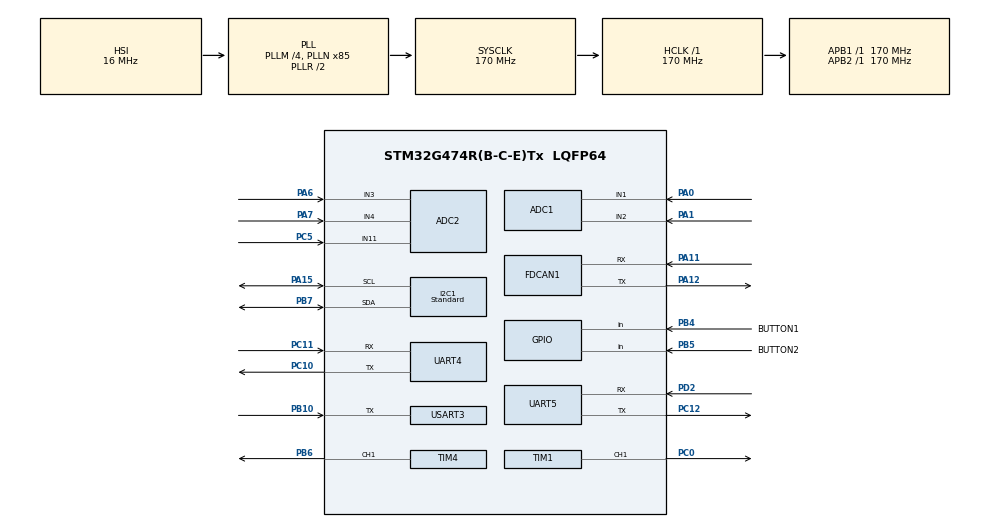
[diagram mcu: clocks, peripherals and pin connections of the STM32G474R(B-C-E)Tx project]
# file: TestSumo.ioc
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ADC1.Channel-0\#ChannelRegularConversion=ADC_CHANNEL_1
ADC1.Channel-1\#ChannelRegularConversion=ADC_CHANNEL_2
ADC1.EOCSelection=ADC_EOC_SEQ_CONV
ADC1.NbrOfConversion=2
ADC1.NbrOfConversionFlag=1
ADC1.OffsetNumber-0\#ChannelRegularConversion=ADC_OFFSET_NONE
ADC1.OffsetNumber-1\#ChannelRegularConversion=ADC_OFFSET_NONE
ADC1.OversamplingMode=DISABLE
ADC1.Rank-0\#ChannelRegularConversion=1
ADC1.Rank-1\#ChannelRegularConversion=2
ADC1.SamplingTime-0\#ChannelRegularConversion=ADC_SAMPLETIME_640CYCLES_5
ADC1.SamplingTime-1\#ChannelRegularConversion=ADC_SAMPLETIME_640CYCLES_5
ADC1.master=1
ADC2.Channel-0\#ChannelRegularConversion=ADC_CHANNEL_3
ADC2.Channel-1\#ChannelRegularConversion=ADC_CHANNEL_4
ADC2.Channel-2\#ChannelRegularConversion=ADC_CHANNEL_11
ADC2.EOCSelection=ADC_EOC_SEQ_CONV
ADC2.NbrOfConversion=3
ADC2.NbrOfConversionFlag=1
ADC2.OffsetNumber-0\#ChannelRegularConversion=ADC_OFFSET_NONE
ADC2.OffsetNumber-1\#ChannelRegularConversion=ADC_OFFSET_NONE
ADC2.OffsetNumber-2\#ChannelRegularConversion=ADC_OFFSET_NONE
ADC2.OversamplingMode=DISABLE
ADC2.Rank-0\#ChannelRegularConversion=1
ADC2.Rank-1\#ChannelRegularConversion=2
ADC2.Rank-2\#ChannelRegularConversion=3
ADC2.SamplingTime-0\#ChannelRegularConversion=ADC_SAMPLETIME_640CYCLES_5
ADC2.SamplingTime-1\#ChannelRegularConversion=ADC_SAMPLETIME_640CYCLES_5
ADC2.SamplingTime-2\#ChannelRegularConversion=ADC_SAMPLETIME_640CYCLES_5
Dma.ADC1.0.Direction=DMA_PERIPH_TO_MEMORY
Dma.ADC1.0.EventEnable=DISABLE
Dma.ADC1.0.Instance=DMA1_Channel1
Dma.ADC1.0.MemDataAlignment=DMA_MDATAALIGN_WORD
Dma.ADC1.0.MemInc=DMA_MINC_ENABLE
Dma.ADC1.0.Mode=DMA_NORMAL
Dma.ADC1.0.PeriphDataAlignment=DMA_PDATAALIGN_WORD
Dma.ADC1.0.PeriphInc=DMA_PINC_DISABLE
Dma.ADC1.0.Polarity=HAL_DMAMUX_REQ_GEN_RISING
Dma.ADC1.0.Priority=DMA_PRIORITY_LOW
Dma.ADC1.0.RequestNumber=1
Dma.ADC1.0.SignalID=NONE
Dma.ADC1.0.SyncEnable=DISABLE
Dma.ADC1.0.SyncPolarity=HAL_DMAMUX_SYNC_NO_EVENT
Dma.ADC1.0.SyncRequestNumber=1
Dma.ADC1.0.SyncSignalID=NONE
Dma.ADC2.4.Direction=DMA_PERIPH_TO_MEMORY
Dma.ADC2.4.EventEnable=DISABLE
Dma.ADC2.4.Instance=DMA1_Channel5
Dma.ADC2.4.MemDataAlignment=DMA_MDATAALIGN_WORD
Dma.ADC2.4.MemInc=DMA_MINC_ENABLE
Dma.ADC2.4.Mode=DMA_NORMAL
Dma.ADC2.4.PeriphDataAlignment=DMA_PDATAALIGN_WORD
Dma.ADC2.4.PeriphInc=DMA_PINC_DISABLE
Dma.ADC2.4.Polarity=HAL_DMAMUX_REQ_GEN_RISING
Dma.ADC2.4.Priority=DMA_PRIORITY_LOW
Dma.ADC2.4.RequestNumber=1
Dma.ADC2.4.SignalID=NONE
Dma.ADC2.4.SyncEnable=DISABLE
Dma.ADC2.4.SyncPolarity=HAL_DMAMUX_SYNC_NO_EVENT
Dma.ADC2.4.SyncRequestNumber=1
Dma.ADC2.4.SyncSignalID=NONE
Dma.I2C1_RX.6.Direction=DMA_PERIPH_TO_MEMORY
Dma.I2C1_RX.6.EventEnable=DISABLE
Dma.I2C1_RX.6.Instance=DMA1_Channel7
Dma.I2C1_RX.6.MemDataAlignment=DMA_MDATAALIGN_BYTE
Dma.I2C1_RX.6.MemInc=DMA_MINC_ENABLE
Dma.I2C1_RX.6.Mode=DMA_NORMAL
Dma.I2C1_RX.6.PeriphDataAlignment=DMA_PDATAALIGN_BYTE
Dma.I2C1_RX.6.PeriphInc=DMA_PINC_DISABLE
Dma.I2C1_RX.6.Polarity=HAL_DMAMUX_REQ_GEN_RISING
Dma.I2C1_RX.6.Priority=DMA_PRIORITY_LOW
Dma.I2C1_RX.6.RequestNumber=1
Dma.I2C1_RX.6.SignalID=NONE
Dma.I2C1_RX.6.SyncEnable=DISABLE
Dma.I2C1_RX.6.SyncPolarity=HAL_DMAMUX_SYNC_NO_EVENT
Dma.I2C1_RX.6.SyncRequestNumber=1
Dma.I2C1_RX.6.SyncSignalID=NONE
Dma.I2C1_TX.5.Direction=DMA_MEMORY_TO_PERIPH
Dma.I2C1_TX.5.EventEnable=DISABLE
Dma.I2C1_TX.5.Instance=DMA1_Channel6
Dma.I2C1_TX.5.MemDataAlignment=DMA_MDATAALIGN_BYTE
Dma.I2C1_TX.5.MemInc=DMA_MINC_ENABLE
Dma.I2C1_TX.5.Mode=DMA_NORMAL
Dma.I2C1_TX.5.PeriphDataAlignment=DMA_PDATAALIGN_BYTE
Dma.I2C1_TX.5.PeriphInc=DMA_PINC_DISABLE
Dma.I2C1_TX.5.Polarity=HAL_DMAMUX_REQ_GEN_RISING
Dma.I2C1_TX.5.Priority=DMA_PRIORITY_LOW
Dma.I2C1_TX.5.RequestNumber=1
Dma.I2C1_TX.5.SignalID=NONE
Dma.I2C1_TX.5.SyncEnable=DISABLE
Dma.I2C1_TX.5.SyncPolarity=HAL_DMAMUX_SYNC_NO_EVENT
Dma.I2C1_TX.5.SyncRequestNumber=1
Dma.I2C1_TX.5.SyncSignalID=NONE
Dma.Request0=ADC1
Dma.Request1=UART5_RX
Dma.Request2=UART4_RX
Dma.Request3=USART3_RX
Dma.Request4=ADC2
Dma.Request5=I2C1_TX
Dma.Request6=I2C1_RX
Dma.UART4_RX.2.Direction=DMA_PERIPH_TO_MEMORY
Dma.UART4_RX.2.EventEnable=DISABLE
Dma.UART4_RX.2.Instance=DMA1_Channel2
Dma.UART4_RX.2.MemDataAlignment=DMA_MDATAALIGN_BYTE
Dma.UART4_RX.2.MemInc=DMA_MINC_ENABLE
Dma.UART4_RX.2.Mode=DMA_NORMAL
Dma.UART4_RX.2.PeriphDataAlignment=DMA_PDATAALIGN_BYTE
Dma.UART4_RX.2.PeriphInc=DMA_PINC_DISABLE
Dma.UART4_RX.2.Polarity=HAL_DMAMUX_REQ_GEN_RISING
Dma.UART4_RX.2.Priority=DMA_PRIORITY_LOW
Dma.UART4_RX.2.RequestNumber=1
Dma.UART4_RX.2.SignalID=NONE
Dma.UART4_RX.2.SyncEnable=DISABLE
Dma.UART4_RX.2.SyncPolarity=HAL_DMAMUX_SYNC_NO_EVENT
Dma.UART4_RX.2.SyncRequestNumber=1
Dma.UART4_RX.2.SyncSignalID=NONE
Dma.UART5_RX.1.Direction=DMA_PERIPH_TO_MEMORY
Dma.UART5_RX.1.EventEnable=DISABLE
Dma.UART5_RX.1.Instance=DMA1_Channel3
Dma.UART5_RX.1.MemDataAlignment=DMA_MDATAALIGN_BYTE
Dma.UART5_RX.1.MemInc=DMA_MINC_ENABLE
Dma.UART5_RX.1.Mode=DMA_NORMAL
Dma.UART5_RX.1.PeriphDataAlignment=DMA_PDATAALIGN_BYTE
Dma.UART5_RX.1.PeriphInc=DMA_PINC_DISABLE
Dma.UART5_RX.1.Polarity=HAL_DMAMUX_REQ_GEN_RISING
Dma.UART5_RX.1.Priority=DMA_PRIORITY_LOW
Dma.UART5_RX.1.RequestNumber=1
Dma.UART5_RX.1.SignalID=NONE
Dma.UART5_RX.1.SyncEnable=DISABLE
Dma.UART5_RX.1.SyncPolarity=HAL_DMAMUX_SYNC_NO_EVENT
Dma.UART5_RX.1.SyncRequestNumber=1
Dma.UART5_RX.1.SyncSignalID=NONE
Dma.USART3_RX.3.Direction=DMA_PERIPH_TO_MEMORY
Dma.USART3_RX.3.EventEnable=DISABLE
Dma.USART3_RX.3.Instance=DMA1_Channel4
Dma.USART3_RX.3.MemDataAlignment=DMA_MDATAALIGN_BYTE
Dma.USART3_RX.3.MemInc=DMA_MINC_ENABLE
Dma.USART3_RX.3.Mode=DMA_CIRCULAR
Dma.USART3_RX.3.PeriphDataAlignment=DMA_PDATAALIGN_BYTE
Dma.USART3_RX.3.PeriphInc=DMA_PINC_DISABLE
Dma.USART3_RX.3.Polarity=HAL_DMAMUX_REQ_GEN_RISING
Dma.USART3_RX.3.Priority=DMA_PRIORITY_LOW
Dma.USART3_RX.3.RequestNumber=1
Dma.USART3_RX.3.SignalID=NONE
Dma.USART3_RX.3.SyncEnable=DISABLE
Dma.USART3_RX.3.SyncPolarity=HAL_DMAMUX_SYNC_NO_EVENT
Dma.USART3_RX.3.SyncRequestNumber=1
Dma.USART3_RX.3.SyncSignalID=NONE
FDCAN1.DataPrescaler=10
FDCAN1.DataTimeSeg1=13
FDCAN1.DataTimeSeg2=2
FDCAN1.NominalPrescaler=85
FDCAN1.NominalTimeSeg1=13
FDCAN1.StdFiltersNbr=2
I2C1.I2C_Speed_Mode=I2C_Standard
I2C1.Timing=0x30A0A7FB
Mcu.Family=STM32G4
Mcu.Name=STM32G474R(B-C-E)Tx
Mcu.Package=LQFP64
NVIC.DMA1_Channel1_IRQn=true\:0\:0\:false\:false\:true\:false\:true
NVIC.DMA1_Channel2_IRQn=true\:0\:0\:false\:false\:true\:false\:true
NVIC.DMA1_Channel3_IRQn=true\:0\:0\:false\:false\:true\:false\:true
NVIC.DMA1_Channel4_IRQn=true\:0\:0\:false\:false\:true\:false\:true
NVIC.DMA1_Channel5_IRQn=true\:0\:0\:false\:false\:true\:false\:true
NVIC.DMA1_Channel6_IRQn=true\:0\:0\:false\:false\:true\:false\:true
NVIC.DMA1_Channel7_IRQn=true\:0\:0\:false\:false\:true\:false\:true
NVIC.FDCAN1_IT1_IRQn=true\:0\:0\:false\:false\:true\:true\:true
NVIC.PriorityGroup=NVIC_PRIORITYGROUP_4
NVIC.TIM4_IRQn=true\:0\:0\:false\:false\:true\:true\:false
NVIC.TIM6_DAC_IRQn=true\:1\:0\:true\:false\:true\:true\:true
PA0.Mode=IN1-Single-Ended
PA0.Signal=ADC1_IN1
PA1.Mode=IN2-Single-Ended
PA1.Signal=ADC1_IN2
PA11.Mode=FDCANMaster
PA11.Signal=FDCAN1_RX
PA12.Mode=FDCANMaster
PA12.Signal=FDCAN1_TX
PA13.Mode=Serial_Wire
PA13.Signal=SYS_JTMS-SWDIO
PA14.Mode=Serial_Wire
PA14.Signal=SYS_JTCK-SWCLK
PA15.Mode=I2C
PA15.Signal=I2C1_SCL
PA6.Mode=IN3-Single-Ended
PA6.Signal=ADC2_IN3
PA7.Mode=IN4-Single-Ended
PA7.Signal=ADC2_IN4
PB10.Mode=Half_duplex(single_wire_mode)
PB10.Signal=USART3_TX
PB4.GPIO_Label=BUTTON1
PB4.Signal=GPIO_Input
PB5.GPIO_Label=BUTTON2
PB5.Signal=GPIO_Input
PB6.GPIO_Speed=GPIO_SPEED_FREQ_VERY_HIGH
PB6.Signal=S_TIM4_CH1
PB7.Mode=I2C
PB7.Signal=I2C1_SDA
PC0.GPIO_Speed=GPIO_SPEED_FREQ_VERY_HIGH
PC0.Signal=S_TIM1_CH1
PC10.Mode=Asynchronous
PC10.Signal=UART4_TX
PC11.Mode=Asynchronous
PC11.Signal=UART4_RX
PC12.Mode=Asynchronous
PC12.Signal=UART5_TX
PC5.Mode=IN11-Single-Ended
PC5.Signal=ADC2_IN11
PD2.Mode=Asynchronous
PD2.Signal=UART5_RX
ProjectManager.HeapSize=0x200
ProjectManager.StackSize=0x400
ProjectManager.TargetToolchain=SW4STM32
RCC.ADC12Freq_Value=170000000
RCC.ADC345Freq_Value=170000000
RCC.AHBFreq_Value=170000000
RCC.APB1Freq_Value=170000000
RCC.APB1TimFreq_Value=170000000
RCC.APB2Freq_Value=170000000
RCC.APB2TimFreq_Value=170000000
RCC.CortexFreq_Value=170000000
RCC.EXTERNAL_CLOCK_VALUE=12288000
RCC.HCLKFreq_Value=170000000
RCC.HSE_VALUE=8000000
RCC.HSI48_VALUE=48000000
RCC.HSI_VALUE=16000000
RCC.LSE_VALUE=32768
RCC.PLLM=RCC_PLLM_DIV4
RCC.PLLN=85
RCC.SYSCLKFreq_VALUE=170000000
RCC.SYSCLKSource=RCC_SYSCLKSOURCE_PLLCLK
RCC.USBFreq_Value=170000000
RCC.VCOOutputFreq_Value=340000000
SH.S_TIM1_CH1.0=TIM1_CH1,PWM Generation1 CH1
SH.S_TIM4_CH1.0=TIM4_CH1,PWM Generation1 CH1
TIM1.Channel-PWM\ Generation1\ CH1=TIM_CHANNEL_1
TIM1.PeriodNoDither=5000
TIM1.Prescaler=170
TIM1.PulseNoDither_1=2000
TIM4.AutoReloadPreload=TIM_AUTORELOAD_PRELOAD_DISABLE
TIM4.Channel-PWM\ Generation1\ CH1=TIM_CHANNEL_1
TIM4.CounterMode=TIM_COUNTERMODE_UP
TIM4.OC1Preload_PWM=DISABLE
TIM4.OCFastMode_PWM-PWM\ Generation1\ CH1=TIM_OCFAST_ENABLE
TIM4.PeriodNoDither=213
TIM4.PulseNoDither_1=63
TIM6.AutoReloadPreload=TIM_AUTORELOAD_PRELOAD_ENABLE
TIM6.PeriodNoDither=20000
TIM6.Prescaler=1700
USART3.BaudRate=100000
USART3.DataInvertParam=ADVFEATURE_DATAINV_DISABLE
USART3.Mode=MODE_RX
USART3.Parity=PARITY_EVEN
USART3.RxPinLevelInvertParam=ADVFEATURE_RXINV_ENABLE
USART3.StopBits=STOPBITS_2
USART3.VirtualMode-Half_duplex(single_wire_mode)=VM_ASYNC
USART3.WordLength=WORDLENGTH_9B
VP_SYS_VS_DBSignals.Mode=DisableDeadBatterySignals
VP_TIM1_VS_ClockSourceINT.Mode=Internal
VP_TIM4_VS_ClockSourceINT.Mode=Internal
VP_TIM6_VS_ClockSourceINT.Mode=Enable_Timer
board=custom

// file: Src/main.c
/* USER CODE BEGIN Header */
/**
  ******************************************************************************
  * @file           : main.c
  * @brief          : Main program body
  ******************************************************************************
  * @attention
  *
  * <h2><center>&copy; Copyright (c) 2020 STMicroelectronics.
  * All rights reserved.</center></h2>
  *
  * This software component is licensed by ST under BSD 3-Clause license,
  * the "License"; You may not use this file except in compliance with the
  * License. You may obtain a copy of the License at:
  *                        opensource.org/licenses/BSD-3-Clause
  *
  ******************************************************************************
  */
/* USER CODE END Header */

#include "main.h"
#include "adc.h"
#include "dma.h"
#include "fdcan.h"
#include "i2c.h"
#include "tim.h"
#include "usart.h"
#include "gpio.h"

void SystemClock_Config(void);

/* USER CODE BEGIN 0 */
void Variable_Init()
{
	int counter;

	test = 0;
	mode = 1;

	Bit_Counter = 23;
	LED_Counter = 5;
	for(counter = 0; counter < 5; counter++) LED[counter].data = 0;

	for(counter = 0; counter < 4; counter++) CAN_RX_Buffer[counter] = 0;
	for(counter = 0; counter < 10; counter++) CAN_TX_Buffer[counter] = 0;
	for(counter = 0; counter < 25; counter++) TXR_Buffer.array[counter] = 0;
	LESC_Status = 0;
	RESC_Status = 0;
	TXR_Status = 0;
	CAN_RX_Mailbox = 0;
	Motor_Armed = 0;
	Vacuum_Armed = 0;
	ACK_Toggle = 0;
	LeftMotorSpeed = 0;
	RightMotorSpeed = 0;
	LINE_ADC[0] = 0;
	LINE_ADC[1] = 0;

	RAMPD = 50;
}

void Peripheral_Init()
{
	int counter;

	// Start Battery ADC Conversion
	HAL_TIM_Base_Start_IT(&htim6);

	// WS2812 Init
	HAL_TIM_OC_Start(&htim4, TIM_CHANNEL_1);
	HAL_TIM_PWM_Start_IT(&htim4, TIM_CHANNEL_1);
	for(counter = 0; counter < 5; counter++) WS2812_Load();

	// Vacuum Init
	TIM1->CCR1 = 1000;
	HAL_TIM_PWM_Start(&htim1, TIM_CHANNEL_1);

	// Start UART DMA
	HAL_UART_Receive_DMA(&huart4, ESC_Right.array, 13);
	HAL_UART_Receive_DMA(&huart5, ESC_Left.array, 13);
	HAL_UART_Receive_DMA(&huart3, TXR_Buffer.array, 25);

	// Initialize CAN bus
	HAL_FDCAN_MspInit(&hfdcan1);
	FDCAN1_RX_Filter_Init(&hfdcan1);
	HAL_FDCAN_Start(&hfdcan1);
}
/* USER CODE END 0 */

int main(void)
{
  /* USER CODE BEGIN 1 */
uint32_t TICK;
uint32_t refrence;
	int counter;
  /* USER CODE END 1 */

  /* MCU Configuration--------------------------------------------------------*/

  /* Reset of all peripherals, Initializes the Flash interface and the Systick. */
  HAL_Init();

  /* Configure the system clock */
  SystemClock_Config();

  /* Initialize all configured peripherals */
  MX_GPIO_Init();
  MX_DMA_Init();
  MX_ADC1_Init();
  MX_TIM6_Init();
  MX_TIM4_Init();
  MX_FDCAN1_Init();
  MX_UART4_Init();
  MX_UART5_Init();
  MX_USART3_UART_Init();
  MX_ADC2_Init();
  MX_TIM1_Init();
  MX_I2C1_Init();
  /* USER CODE BEGIN 2 */

  // Initialize all variables
  Variable_Init();
 // SRF02_init();

  // Initialize all variables
  Peripheral_Init();

  while(1)
	  Remote_Control_Mode();

  while(1)
  {
	  if(CAN_RX_Mailbox > 0) Resolve_CAN_RX_Mailbox();
	  WS2812_Update();
  	  WS2812_Load();
  	  if(LESC_Status == 2 && RESC_Status == 2) break;
  }
  HAL_Delay(500);

  LeftMotorSpeed = 0;
  RightMotorSpeed = 0;
  for(counter = 0; counter < 3; counter++)
  {
	  Motor_Arm();
	  WS2812_Update();
	  WS2812_Load();
	  Update_Motor_Speed();
	  if(CAN_RX_Mailbox > 0) Resolve_CAN_RX_Mailbox();
	  HAL_Delay(500);
	  Motor_Disarm();
	  WS2812_Update();
	  WS2812_Load();
	  Update_Motor_Speed();
	  if(CAN_RX_Mailbox > 0) Resolve_CAN_RX_Mailbox();
	  HAL_Delay(500);
  }
  Motor_Arm();
  Update_Motor_Speed();
  if(CAN_RX_Mailbox > 0) Resolve_CAN_RX_Mailbox();
  HAL_Delay(500);
  WS2812_Update();
  WS2812_Load();

  while(HAL_GPIO_ReadPin(BUTTON1_GPIO_Port, BUTTON1_Pin) == 0)
  {
	  WS2812_Update();
	  WS2812_Load();
	  HAL_Delay(10);
  }
  if(HAL_GPIO_ReadPin(BUTTON1_GPIO_Port, BUTTON1_Pin) == 1)
  {
	  while(1)
	  {
		  HAL_Delay(10);
		  if(HAL_GPIO_ReadPin(BUTTON1_GPIO_Port, BUTTON1_Pin) == 0)
		  {
			  HAL_Delay(100);
			  break;
		  }
	  }
  }
  refrence = LINE_ADC[2];

  TIM1->CCR1 = 2000;
  while(1)
  {
	  if(LINE_ADC[0] > refrence && LINE_ADC[1] > refrence)
	  {
		  // forward
		  LeftMotorSpeed = -15000;
	  	  RightMotorSpeed = 15000;
	  	  Update_Motor_Speed();
	  	  HAL_Delay(10);
	  }
	  if(LINE_ADC[0] <= refrence && LINE_ADC[1] > refrence)
	  {
		  while(LINE_ADC[0] <= refrence)
		  {
			  LeftMotorSpeed = -15000;
			  RightMotorSpeed = -15000;
			  Update_Motor_Speed();
			  HAL_Delay(10);
		  }
	  }

	  if(LINE_ADC[0] > refrence && LINE_ADC[1] <= refrence)
	  {
		  while(LINE_ADC[1] <= refrence)
		  {
			  LeftMotorSpeed = 15000;
			  RightMotorSpeed = 15000;
			  Update_Motor_Speed();
			  HAL_Delay(10);
		  }
	  }

	  if(LINE_ADC[0] <= refrence && LINE_ADC[1] <= refrence)
	  {
		  LeftMotorSpeed = 15000;
		  RightMotorSpeed = 15000;
		  Update_Motor_Speed();
		  HAL_Delay(50);
	  }

	  if(HAL_GPIO_ReadPin(BUTTON1_GPIO_Port, BUTTON1_Pin) == 1)
	  {
		  Motor_Disarm();
		  TIM1->CCR1 = 1000;
		  while(1) HAL_Delay(10);
	  }

	  /*
			  // backward
			  LeftMotorSpeed = 2400;
			  RightMotorSpeed = -2400;

		  // forward
		  LeftMotorSpeed = -2400;
		  RightMotorSpeed = 2400;
	  }*/

	  WS2812_Update();
	  WS2812_Load();
  }

  /* USER CODE END 2 */

  /* Infinite loop */
  /* USER CODE BEGIN WHILE */
  while (1)
  {
	  HAL_Delay(10);

	  if(HAL_GPIO_ReadPin(BUTTON1_GPIO_Port, BUTTON1_Pin) == 1)
	  {
		  while(1)
		  {
			  HAL_Delay(100);
			  if(HAL_GPIO_ReadPin(BUTTON1_GPIO_Port, BUTTON1_Pin) == 0)
			  {
				  HAL_Delay(100);
				  mode++;
				  if(mode == 6) mode = 1;
				  break;
			  }
		  }
	  }
	  if(HAL_GPIO_ReadPin(BUTTON2_GPIO_Port, BUTTON2_Pin) == 1)
	  {
		  while(1)
		  {
			  HAL_Delay(100);
			  if(HAL_GPIO_ReadPin(BUTTON2_GPIO_Port, BUTTON2_Pin) == 0)
			  {
				  HAL_Delay(100);
				  switch(mode)
				  {
					  case 1:
						  ADC_Calibration_Mode();
						  break;

					  case 2:
						  Remote_Control_Mode();
						  break;

					  case 3:
						  Autonomous_Mode();
						  break;

					  case 4:
						  Ultrasonic_Sensor_Program();
						  break;

					  case 5:
						  Ultrasonic_Sensor_Test();
						  break;
				  }
			  }
		  }
	  }
	  WS2812_Mode_Display(mode);

    /* USER CODE END WHILE */

  }
}

void SystemClock_Config(void)
{
  RCC_OscInitTypeDef RCC_OscInitStruct = {0};
  RCC_ClkInitTypeDef RCC_ClkInitStruct = {0};
  RCC_PeriphCLKInitTypeDef PeriphClkInit = {0};

  /** Configure the main internal regulator output voltage
  */
  HAL_PWREx_ControlVoltageScaling(PWR_REGULATOR_VOLTAGE_SCALE1_BOOST);
  /** Initializes the CPU, AHB and APB busses clocks
  */
  RCC_OscInitStruct.OscillatorType = RCC_OSCILLATORTYPE_HSI;
  RCC_OscInitStruct.HSIState = RCC_HSI_ON;
  RCC_OscInitStruct.HSICalibrationValue = RCC_HSICALIBRATION_DEFAULT;
  RCC_OscInitStruct.PLL.PLLState = RCC_PLL_ON;
  RCC_OscInitStruct.PLL.PLLSource = RCC_PLLSOURCE_HSI;
  RCC_OscInitStruct.PLL.PLLM = RCC_PLLM_DIV4;
  RCC_OscInitStruct.PLL.PLLN = 85;
  RCC_OscInitStruct.PLL.PLLP = RCC_PLLP_DIV2;
  RCC_OscInitStruct.PLL.PLLQ = RCC_PLLQ_DIV2;
  RCC_OscInitStruct.PLL.PLLR = RCC_PLLR_DIV2;
  if (HAL_RCC_OscConfig(&RCC_OscInitStruct) != HAL_OK)
  {
    Error_Handler();
  }
  /** Initializes the CPU, AHB and APB busses clocks
  */
  RCC_ClkInitStruct.ClockType = RCC_CLOCKTYPE_HCLK|RCC_CLOCKTYPE_SYSCLK
                              |RCC_CLOCKTYPE_PCLK1|RCC_CLOCKTYPE_PCLK2;
  RCC_ClkInitStruct.SYSCLKSource = RCC_SYSCLKSOURCE_PLLCLK;
  RCC_ClkInitStruct.AHBCLKDivider = RCC_SYSCLK_DIV1;
  RCC_ClkInitStruct.APB1CLKDivider = RCC_HCLK_DIV1;
  RCC_ClkInitStruct.APB2CLKDivider = RCC_HCLK_DIV1;

  if (HAL_RCC_ClockConfig(&RCC_ClkInitStruct, FLASH_LATENCY_8) != HAL_OK)
  {
    Error_Handler();
  }
  /** Initializes the peripherals clocks
  */
  PeriphClkInit.PeriphClockSelection = RCC_PERIPHCLK_USART3|RCC_PERIPHCLK_UART4
                              |RCC_PERIPHCLK_UART5|RCC_PERIPHCLK_I2C1
                              |RCC_PERIPHCLK_ADC12|RCC_PERIPHCLK_FDCAN;
  PeriphClkInit.Usart3ClockSelection = RCC_USART3CLKSOURCE_PCLK1;
  PeriphClkInit.Uart4ClockSelection = RCC_UART4CLKSOURCE_PCLK1;
  PeriphClkInit.Uart5ClockSelection = RCC_UART5CLKSOURCE_PCLK1;
  PeriphClkInit.I2c1ClockSelection = RCC_I2C1CLKSOURCE_PCLK1;
  PeriphClkInit.FdcanClockSelection = RCC_FDCANCLKSOURCE_PCLK1;
  PeriphClkInit.Adc12ClockSelection = RCC_ADC12CLKSOURCE_SYSCLK;
  if (HAL_RCCEx_PeriphCLKConfig(&PeriphClkInit) != HAL_OK)
  {
    Error_Handler();
  }
}

void Error_Handler(void)
{
}

/************************ (C) COPYRIGHT STMicroelectronics *****END OF FILE****/
